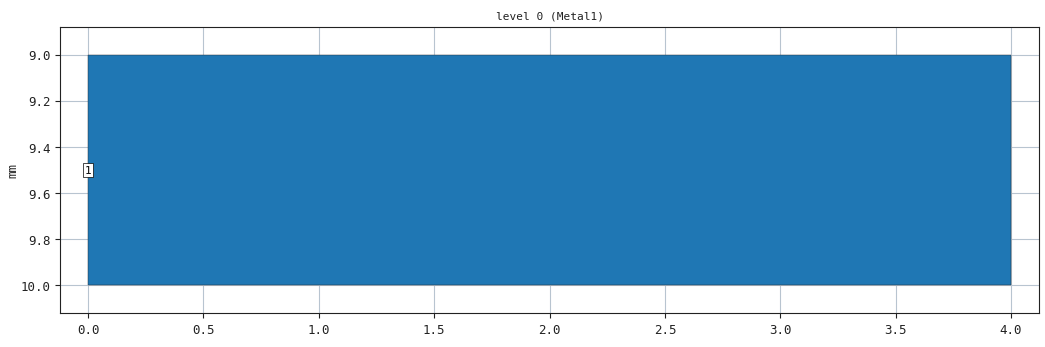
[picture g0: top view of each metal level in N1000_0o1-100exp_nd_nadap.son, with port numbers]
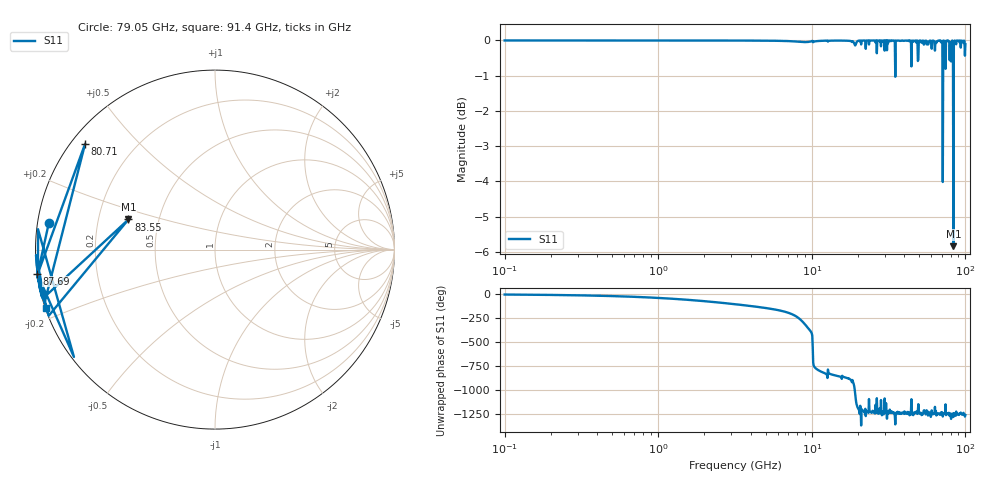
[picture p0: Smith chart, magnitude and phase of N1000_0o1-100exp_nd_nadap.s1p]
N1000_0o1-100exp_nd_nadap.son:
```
FTYP SONPROJ 19 ! Sonnet Project File
VER 18.56
HEADER
LIC sonnet10.72.52417
DAT 03/05/2023 06:14:04
BUILT_BY_CREATED xgeom 18.56 02/17/2023 13:10:04
BUILT_BY_SAVED sonnet 18.56
MDATE 03/04/2023 10:23:07
HDATE 03/04/2023 10:23:07
END HEADER
DIM
ANG DEG
CAP PF
CON /OH
FREQ GHZ
IND NH
LNG MM
RES OH
END DIM
CONTROL
VARSWP
OPTIONS 
SPEED 0
CACHE_ABS 2
Q_ACC N
END CONTROL
GEO
TMET "Lossless" 0 SUP 0 0 0 0
BMET "Lossless" 0 SUP 0 0 0 0
MET "Copper" 1 NOR 58000000 0.5 0.1 
BOX 1 30 15 3000 1500 20 0
      5 1 1 0 0 0 0 "Air"
      1 10 1 0 0 0 0 "Substrate"
TECHLAY METAL Metal1 <UNSPECIFIED> -2 -65534 
0 0 0 N 34 1 1 100 100 0 0 0 Y
END
END
LORGN 0 6.35 U 
POR1 BOX
POLY 24 1
3
1 50 0 0 0 0 9.5 
NUM 1
0 5 0 N 24 1 1 100 100 0 0 0 Y
TLAYNAM Metal1 INH
0 9
4 9
4 10
0 10
0 9
END
END GEO
OPT
MAX 100
END OPT
VARSWP
ENABLED Y
FREQ Y AN ESWEEP 0.1 100.0 1000
END
END VARSWP
FILEOUT
TOUCH D Y $BASENAME.s1p IC 15 S MA R 50.00000
FOLDER .
END FILEOUT
```
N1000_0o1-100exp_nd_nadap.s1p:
! Sonnet Data File
! From: em Version : 18.56
! From Project: N1000_0o1-100exp_nd_nadap
! Data is De-embedded
! Data File Written: 03/05/2023 08:22:15
!< HDATE 03/04/2023 10:23:07
!< MDATE 03/04/2023 10:23:07
# GHZ S MA R 50.00000
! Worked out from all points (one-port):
!   1000 points, 100 MHz to 100 GHz, reference 50 ohm
!   lowest |S11| = -5.8 dB at 83.55 GHz (marker M1), VSWR 3.09, Z = 16.6 + j7.54 ohm
!   |S11| at or under -10 dB: nowhere
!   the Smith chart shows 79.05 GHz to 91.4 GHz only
!   S11 on the Smith chart (normalised r, x): 79.05 GHz: 0.03, +0.08; 80.71 GHz: 0.04, +0.36; 83.55 GHz: 0.33, +0.15; 87.69 GHz: 0.00, -0.07; 91.4 GHz: 0.00, -0.17
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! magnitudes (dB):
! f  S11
! 100 MHz  0.0
! 1 GHz  0.0
! 10 GHz  0.0
! 68.37 GHz  0.0
! 68.84 GHz  0.0
! 71.76 GHz  0.0
! 79.05 GHz  -0.6
! 80.15 GHz  -0.1
! 80.71 GHz  -0.6
! 83.55 GHz  -5.8
! 86.48 GHz  -0.1
! 87.69 GHz  0.0
! 91.4 GHz  -0.1
! 100 GHz  -0.1
